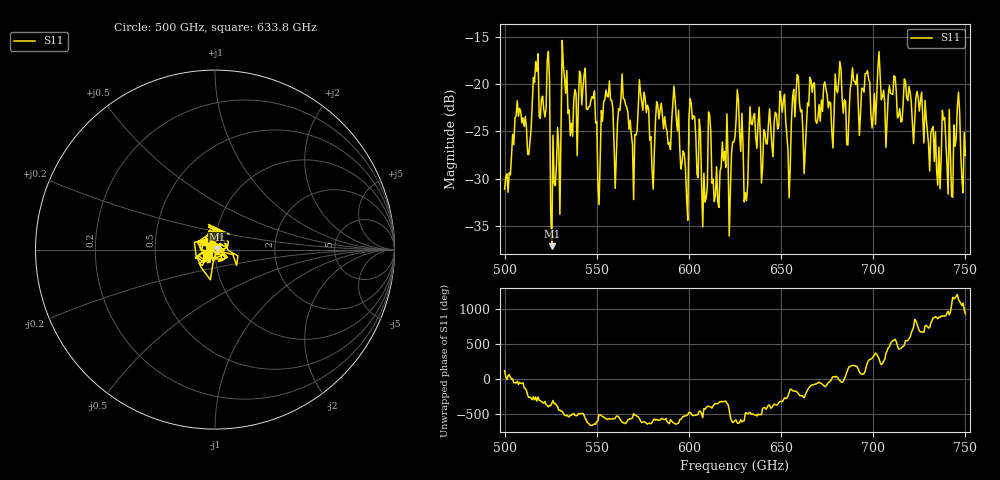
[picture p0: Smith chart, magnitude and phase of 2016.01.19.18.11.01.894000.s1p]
!Created with skrf (http://scikit-rf.org).
# GHz S RI R 50.0
!freq ReS11 ImS11
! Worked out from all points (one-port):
!   401 points, 500 GHz to 750 GHz, reference 50 ohm
!   lowest |S11| = -37.1 dB at 525.6 GHz (marker M1), VSWR 1.03, Z = 51.4 + j0.378 ohm
!   |S11| at or under -10 dB: start of sweep to end of sweep
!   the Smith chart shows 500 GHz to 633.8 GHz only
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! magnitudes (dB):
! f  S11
! 500 GHz  -31.1
! 506.9 GHz  -21.8
! 513.1 GHz  -27.5
! 516.9 GHz  -17.6
! 523.1 GHz  -17.5
! 525.6 GHz  -37.1
! 531.2 GHz  -15.4
! 542.5 GHz  -20.4
! 550.6 GHz  -30.6
! 555.6 GHz  -21.3
! 560 GHz  -31.0
! 562.5 GHz  -22.8
! 570 GHz  -32.2
! 574.4 GHz  -21.9
! 580 GHz  -29.1
! 593.8 GHz  -24.9
! 598.1 GHz  -28.9
! 601.9 GHz  -23.7
! 608.8 GHz  -32.5
! 625 GHz  -25.6
! 630.6 GHz  -31.5
! 634.4 GHz  -24.3
! 656.2 GHz  -21.3
! 687.5 GHz  -20.5
! 718.8 GHz  -21.8
! 735.6 GHz  -26.7
! 745.6 GHz  -22.4
! 750 GHz  -27.5
